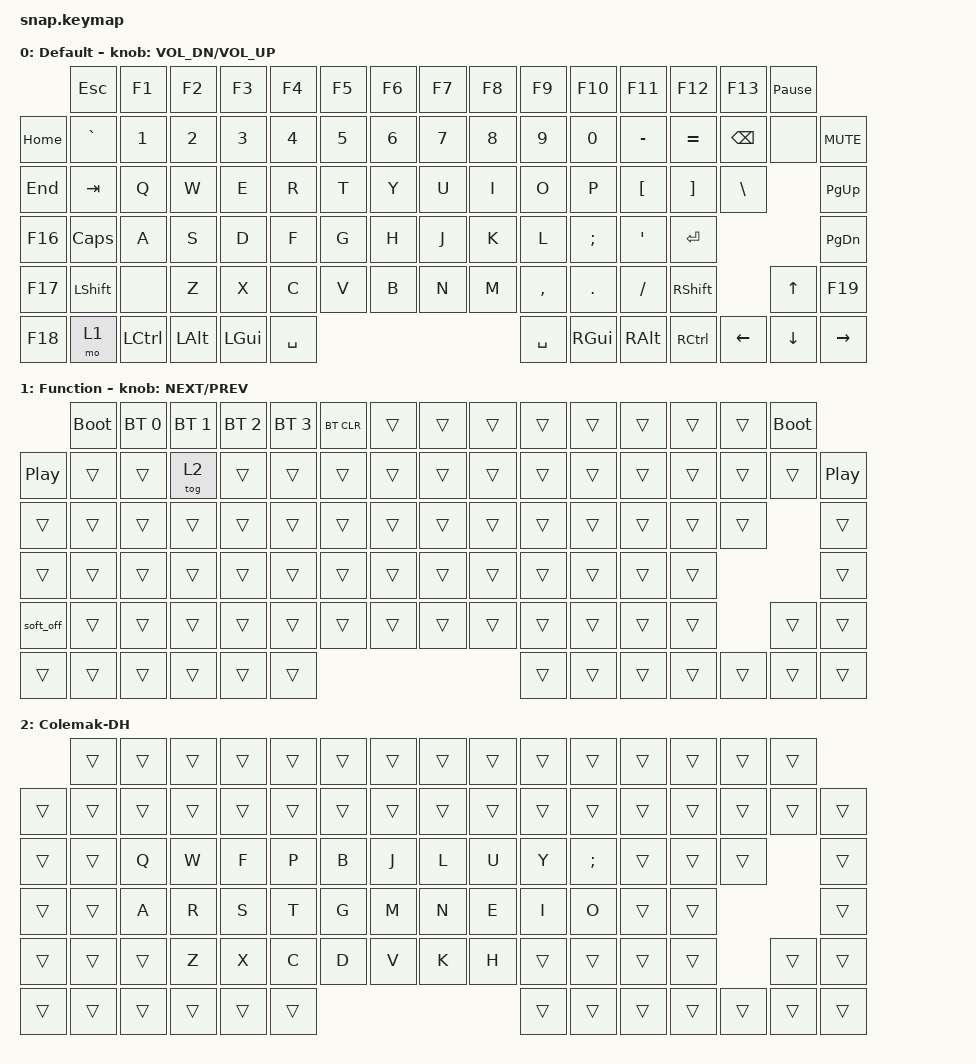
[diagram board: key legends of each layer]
/*
 * Copyright (c) 2022 The ZMK Contributors
 *
 * SPDX-License-Identifier: MIT
 */

#include <behaviors.dtsi>
#include <dt-bindings/zmk/bt.h>
#include <dt-bindings/zmk/keys.h>

// Soft-off: hold Fn + the F17 key for 2 s, then release; both halves power down.
// Wake: press Space on each half (both Space keys together wakes the whole keyboard),
// see config/snap_left.overlay and snap_right.overlay. The reset button also works.
// The SNAP's demux matrix cannot wake the MCU on any key, so there is no automatic
// deep sleep (CONFIG_ZMK_SLEEP stays off).
// The peripheral flag is removed so the right half also respects the hold time;
// the central queues the release to the right half and waits 100 ms before powering off.
&soft_off {
    hold-time-ms = <2000>;
    /delete-property/ split-peripheral-off-on-press;
};

/ {
    sensors: sensors {
        compatible = "zmk,keymap-sensors";
        sensors = <&right_encoder>;
        triggers-per-rotation = <20>;
    };

    keymap {
        compatible = "zmk,keymap";

        QWERTY {
            display-name = "Default";
            sensor-bindings = <&inc_dec_kp C_VOL_DN C_VOL_UP>;
            bindings = <
          &kp ESC    &kp F1     &kp F2    &kp F3        &kp F4     &kp F5  &kp F6  &kp F7  &kp F8  &kp F9     &kp F10        &kp F11    &kp F12    &kp F13   &kp PAUSE_BREAK
&kp HOME  &kp GRAVE  &kp N1     &kp N2    &kp N3        &kp N4     &kp N5  &kp N6  &kp N7  &kp N8  &kp N9     &kp N0         &kp MINUS  &kp EQUAL  &kp BSPC  &none            &kp C_MUTE
&kp END   &kp TAB    &kp Q      &kp W     &kp E         &kp R      &kp T   &kp Y   &kp U   &kp I   &kp O      &kp P          &kp LBKT   &kp RBKT   &kp BSLH                   &kp PG_UP
&kp F16   &kp CLCK   &kp A      &kp S     &kp D         &kp F      &kp G   &kp H   &kp J   &kp K   &kp L      &kp SEMI       &kp SQT    &kp RET                               &kp PG_DN
&kp F17   &kp LSHFT  &none      &kp Z     &kp X         &kp C      &kp V   &kp B   &kp N   &kp M   &kp COMMA  &kp DOT        &kp FSLH   &kp RSHFT            &kp UP           &kp F19
&kp F18   &mo 1      &kp LCTRL  &kp LALT  &kp LEFT_GUI  &kp SPACE                                  &kp SPACE  &kp RIGHT_GUI  &kp RALT   &kp RCTRL  &kp LEFT  &kp DOWN         &kp RIGHT
            >;
        };

        function_layer {
            display-name = "Function";
            sensor-bindings = <&inc_dec_kp C_NEXT C_PREV>;
            bindings = <
                   &bootloader  &bt BT_SEL 0  &bt BT_SEL 1  &bt BT_SEL 2  &bt BT_SEL 3  &bt BT_CLR  &trans  &trans  &trans  &trans  &trans  &trans  &trans           &trans           &bootloader
&kp C_PP           &trans       &trans        &tog 2        &trans        &trans        &trans      &trans  &trans  &trans  &trans  &trans  &trans  &trans           &trans           &trans           &kp C_PP
&trans             &trans       &trans        &trans        &trans        &trans        &trans      &trans  &trans  &trans  &trans  &trans  &trans  &trans           &trans                            &trans
&trans             &trans       &trans        &trans        &trans        &trans        &trans      &trans  &trans  &trans  &trans  &trans  &trans  &trans                                             &trans
&soft_off          &trans       &trans        &trans        &trans        &trans        &trans      &trans  &trans  &trans  &trans  &trans  &trans  &trans                            &trans           &trans
&trans             &trans       &trans        &trans        &trans        &trans                                            &trans  &trans  &trans  &trans           &trans           &trans           &trans
            >;
        };

        Colemak-DH {
            bindings = <
        &trans  &trans  &trans  &trans  &trans  &trans  &trans  &trans  &trans  &trans  &trans    &trans  &trans  &trans  &trans
&trans  &trans  &trans  &trans  &trans  &trans  &trans  &trans  &trans  &trans  &trans  &trans    &trans  &trans  &trans  &trans  &trans
&trans  &trans  &kp Q   &kp W   &kp F   &kp P   &kp B   &kp J   &kp L   &kp U   &kp Y   &kp SEMI  &trans  &trans  &trans          &trans
&trans  &trans  &kp A   &kp R   &kp S   &kp T   &kp G   &kp M   &kp N   &kp E   &kp I   &kp O     &trans  &trans                  &trans
&trans  &trans  &trans  &kp Z   &kp X   &kp C   &kp D   &kp V   &kp K   &kp H   &trans  &trans    &trans  &trans          &trans  &trans
&trans  &trans  &trans  &trans  &trans  &trans                                  &trans  &trans    &trans  &trans  &trans  &trans  &trans
            >;
        };
    };
};
